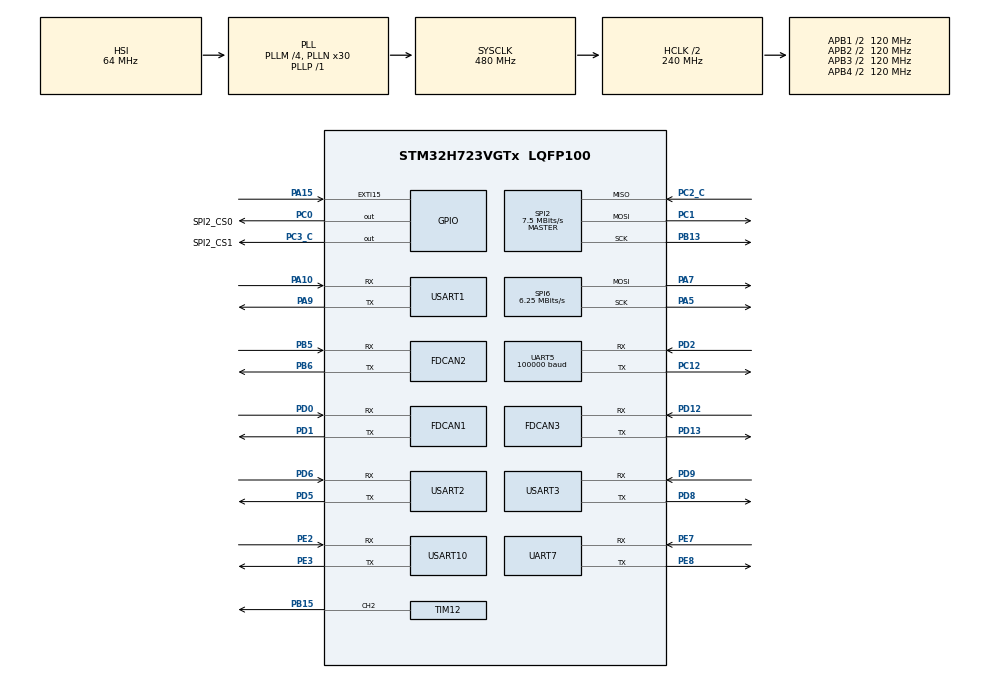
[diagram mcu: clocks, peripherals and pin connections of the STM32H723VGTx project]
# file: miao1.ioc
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Bdma.Request0=SPI6_TX
Bdma.RequestsNb=1
Bdma.SPI6_TX.0.Direction=DMA_MEMORY_TO_PERIPH
Bdma.SPI6_TX.0.EventEnable=DISABLE
Bdma.SPI6_TX.0.Instance=BDMA_Channel2
Bdma.SPI6_TX.0.MemDataAlignment=DMA_MDATAALIGN_BYTE
Bdma.SPI6_TX.0.MemInc=DMA_MINC_ENABLE
Bdma.SPI6_TX.0.Mode=DMA_NORMAL
Bdma.SPI6_TX.0.PeriphDataAlignment=DMA_PDATAALIGN_BYTE
Bdma.SPI6_TX.0.PeriphInc=DMA_PINC_DISABLE
Bdma.SPI6_TX.0.Polarity=HAL_DMAMUX_REQ_GEN_RISING
Bdma.SPI6_TX.0.Priority=DMA_PRIORITY_LOW
Bdma.SPI6_TX.0.RequestNumber=1
Bdma.SPI6_TX.0.SignalID=NONE
Bdma.SPI6_TX.0.SyncEnable=DISABLE
Bdma.SPI6_TX.0.SyncPolarity=HAL_DMAMUX_SYNC_NO_EVENT
Bdma.SPI6_TX.0.SyncRequestNumber=1
Bdma.SPI6_TX.0.SyncSignalID=NONE
Dma.Request0=USART1_RX
Dma.Request1=USART1_TX
Dma.Request10=USART10_RX
Dma.Request11=USART10_TX
Dma.Request12=SPI2_RX
Dma.Request13=SPI2_TX
Dma.Request2=USART2_RX
Dma.Request3=USART2_TX
Dma.Request4=USART3_RX
Dma.Request5=USART3_TX
Dma.Request6=UART5_RX
Dma.Request7=UART5_TX
Dma.Request8=UART7_RX
Dma.Request9=UART7_TX
Dma.SPI2_RX.12.Direction=DMA_PERIPH_TO_MEMORY
Dma.SPI2_RX.12.EventEnable=DISABLE
Dma.SPI2_RX.12.FIFOMode=DMA_FIFOMODE_DISABLE
Dma.SPI2_RX.12.Instance=DMA1_Stream3
Dma.SPI2_RX.12.MemDataAlignment=DMA_MDATAALIGN_BYTE
Dma.SPI2_RX.12.MemInc=DMA_MINC_ENABLE
Dma.SPI2_RX.12.Mode=DMA_NORMAL
Dma.SPI2_RX.12.PeriphDataAlignment=DMA_PDATAALIGN_BYTE
Dma.SPI2_RX.12.PeriphInc=DMA_PINC_DISABLE
Dma.SPI2_RX.12.Polarity=HAL_DMAMUX_REQ_GEN_RISING
Dma.SPI2_RX.12.Priority=DMA_PRIORITY_LOW
Dma.SPI2_RX.12.RequestNumber=1
Dma.SPI2_RX.12.SignalID=NONE
Dma.SPI2_RX.12.SyncEnable=DISABLE
Dma.SPI2_RX.12.SyncPolarity=HAL_DMAMUX_SYNC_NO_EVENT
Dma.SPI2_RX.12.SyncRequestNumber=1
Dma.SPI2_RX.12.SyncSignalID=NONE
Dma.SPI2_TX.13.Direction=DMA_MEMORY_TO_PERIPH
Dma.SPI2_TX.13.EventEnable=DISABLE
Dma.SPI2_TX.13.FIFOMode=DMA_FIFOMODE_DISABLE
Dma.SPI2_TX.13.Instance=DMA1_Stream4
Dma.SPI2_TX.13.MemDataAlignment=DMA_MDATAALIGN_BYTE
Dma.SPI2_TX.13.MemInc=DMA_MINC_ENABLE
Dma.SPI2_TX.13.Mode=DMA_NORMAL
Dma.SPI2_TX.13.PeriphDataAlignment=DMA_PDATAALIGN_BYTE
Dma.SPI2_TX.13.PeriphInc=DMA_PINC_DISABLE
Dma.SPI2_TX.13.Polarity=HAL_DMAMUX_REQ_GEN_RISING
Dma.SPI2_TX.13.Priority=DMA_PRIORITY_LOW
Dma.SPI2_TX.13.RequestNumber=1
Dma.SPI2_TX.13.SignalID=NONE
Dma.SPI2_TX.13.SyncEnable=DISABLE
Dma.SPI2_TX.13.SyncPolarity=HAL_DMAMUX_SYNC_NO_EVENT
Dma.SPI2_TX.13.SyncRequestNumber=1
Dma.SPI2_TX.13.SyncSignalID=NONE
Dma.UART5_RX.6.Direction=DMA_PERIPH_TO_MEMORY
Dma.UART5_RX.6.EventEnable=DISABLE
Dma.UART5_RX.6.FIFOMode=DMA_FIFOMODE_DISABLE
Dma.UART5_RX.6.Instance=DMA1_Stream6
Dma.UART5_RX.6.MemDataAlignment=DMA_MDATAALIGN_BYTE
Dma.UART5_RX.6.MemInc=DMA_MINC_ENABLE
Dma.UART5_RX.6.Mode=DMA_CIRCULAR
Dma.UART5_RX.6.PeriphDataAlignment=DMA_PDATAALIGN_BYTE
Dma.UART5_RX.6.PeriphInc=DMA_PINC_DISABLE
Dma.UART5_RX.6.Polarity=HAL_DMAMUX_REQ_GEN_RISING
Dma.UART5_RX.6.Priority=DMA_PRIORITY_LOW
Dma.UART5_RX.6.RequestNumber=1
Dma.UART5_RX.6.SignalID=NONE
Dma.UART5_RX.6.SyncEnable=DISABLE
Dma.UART5_RX.6.SyncPolarity=HAL_DMAMUX_SYNC_NO_EVENT
Dma.UART5_RX.6.SyncRequestNumber=1
Dma.UART5_RX.6.SyncSignalID=NONE
Dma.UART5_TX.7.Direction=DMA_MEMORY_TO_PERIPH
Dma.UART5_TX.7.EventEnable=DISABLE
Dma.UART5_TX.7.FIFOMode=DMA_FIFOMODE_DISABLE
Dma.UART5_TX.7.Instance=DMA1_Stream7
Dma.UART5_TX.7.MemDataAlignment=DMA_MDATAALIGN_BYTE
Dma.UART5_TX.7.MemInc=DMA_MINC_ENABLE
Dma.UART5_TX.7.Mode=DMA_NORMAL
Dma.UART5_TX.7.PeriphDataAlignment=DMA_PDATAALIGN_BYTE
Dma.UART5_TX.7.PeriphInc=DMA_PINC_DISABLE
Dma.UART5_TX.7.Polarity=HAL_DMAMUX_REQ_GEN_RISING
Dma.UART5_TX.7.Priority=DMA_PRIORITY_LOW
Dma.UART5_TX.7.RequestNumber=1
Dma.UART5_TX.7.SignalID=NONE
Dma.UART5_TX.7.SyncEnable=DISABLE
Dma.UART5_TX.7.SyncPolarity=HAL_DMAMUX_SYNC_NO_EVENT
Dma.UART5_TX.7.SyncRequestNumber=1
Dma.UART5_TX.7.SyncSignalID=NONE
Dma.UART7_RX.8.Direction=DMA_PERIPH_TO_MEMORY
Dma.UART7_RX.8.EventEnable=DISABLE
Dma.UART7_RX.8.FIFOMode=DMA_FIFOMODE_DISABLE
Dma.UART7_RX.8.Instance=DMA2_Stream0
Dma.UART7_RX.8.MemDataAlignment=DMA_MDATAALIGN_BYTE
Dma.UART7_RX.8.MemInc=DMA_MINC_ENABLE
Dma.UART7_RX.8.Mode=DMA_CIRCULAR
Dma.UART7_RX.8.PeriphDataAlignment=DMA_PDATAALIGN_BYTE
Dma.UART7_RX.8.PeriphInc=DMA_PINC_DISABLE
Dma.UART7_RX.8.Polarity=HAL_DMAMUX_REQ_GEN_RISING
Dma.UART7_RX.8.Priority=DMA_PRIORITY_LOW
Dma.UART7_RX.8.RequestNumber=1
Dma.UART7_RX.8.SignalID=NONE
Dma.UART7_RX.8.SyncEnable=DISABLE
Dma.UART7_RX.8.SyncPolarity=HAL_DMAMUX_SYNC_NO_EVENT
Dma.UART7_RX.8.SyncRequestNumber=1
Dma.UART7_RX.8.SyncSignalID=NONE
Dma.UART7_TX.9.Direction=DMA_MEMORY_TO_PERIPH
Dma.UART7_TX.9.EventEnable=DISABLE
Dma.UART7_TX.9.FIFOMode=DMA_FIFOMODE_DISABLE
Dma.UART7_TX.9.Instance=DMA2_Stream1
Dma.UART7_TX.9.MemDataAlignment=DMA_MDATAALIGN_BYTE
Dma.UART7_TX.9.MemInc=DMA_MINC_ENABLE
Dma.UART7_TX.9.Mode=DMA_NORMAL
Dma.UART7_TX.9.PeriphDataAlignment=DMA_PDATAALIGN_BYTE
Dma.UART7_TX.9.PeriphInc=DMA_PINC_DISABLE
Dma.UART7_TX.9.Polarity=HAL_DMAMUX_REQ_GEN_RISING
Dma.UART7_TX.9.Priority=DMA_PRIORITY_LOW
Dma.UART7_TX.9.RequestNumber=1
Dma.UART7_TX.9.SignalID=NONE
Dma.UART7_TX.9.SyncEnable=DISABLE
Dma.UART7_TX.9.SyncPolarity=HAL_DMAMUX_SYNC_NO_EVENT
Dma.UART7_TX.9.SyncRequestNumber=1
Dma.UART7_TX.9.SyncSignalID=NONE
Dma.USART10_RX.10.Direction=DMA_PERIPH_TO_MEMORY
Dma.USART10_RX.10.EventEnable=DISABLE
Dma.USART10_RX.10.FIFOMode=DMA_FIFOMODE_DISABLE
Dma.USART10_RX.10.Instance=DMA2_Stream2
Dma.USART10_RX.10.MemDataAlignment=DMA_MDATAALIGN_BYTE
Dma.USART10_RX.10.MemInc=DMA_MINC_ENABLE
Dma.USART10_RX.10.Mode=DMA_CIRCULAR
Dma.USART10_RX.10.PeriphDataAlignment=DMA_PDATAALIGN_BYTE
Dma.USART10_RX.10.PeriphInc=DMA_PINC_DISABLE
Dma.USART10_RX.10.Polarity=HAL_DMAMUX_REQ_GEN_RISING
Dma.USART10_RX.10.Priority=DMA_PRIORITY_LOW
Dma.USART10_RX.10.RequestNumber=1
Dma.USART10_RX.10.SignalID=NONE
Dma.USART10_RX.10.SyncEnable=DISABLE
Dma.USART10_RX.10.SyncPolarity=HAL_DMAMUX_SYNC_NO_EVENT
Dma.USART10_RX.10.SyncRequestNumber=1
Dma.USART10_RX.10.SyncSignalID=NONE
Dma.USART10_TX.11.Direction=DMA_MEMORY_TO_PERIPH
Dma.USART10_TX.11.EventEnable=DISABLE
Dma.USART10_TX.11.FIFOMode=DMA_FIFOMODE_DISABLE
Dma.USART10_TX.11.Instance=DMA2_Stream3
Dma.USART10_TX.11.MemDataAlignment=DMA_MDATAALIGN_BYTE
Dma.USART10_TX.11.MemInc=DMA_MINC_ENABLE
Dma.USART10_TX.11.Mode=DMA_NORMAL
Dma.USART10_TX.11.PeriphDataAlignment=DMA_PDATAALIGN_BYTE
Dma.USART10_TX.11.PeriphInc=DMA_PINC_DISABLE
Dma.USART10_TX.11.Polarity=HAL_DMAMUX_REQ_GEN_RISING
Dma.USART10_TX.11.Priority=DMA_PRIORITY_LOW
Dma.USART10_TX.11.RequestNumber=1
Dma.USART10_TX.11.SignalID=NONE
Dma.USART10_TX.11.SyncEnable=DISABLE
Dma.USART10_TX.11.SyncPolarity=HAL_DMAMUX_SYNC_NO_EVENT
Dma.USART10_TX.11.SyncRequestNumber=1
Dma.USART10_TX.11.SyncSignalID=NONE
Dma.USART1_RX.0.Direction=DMA_PERIPH_TO_MEMORY
Dma.USART1_RX.0.EventEnable=DISABLE
Dma.USART1_RX.0.FIFOMode=DMA_FIFOMODE_DISABLE
Dma.USART1_RX.0.Instance=DMA1_Stream0
Dma.USART1_RX.0.MemDataAlignment=DMA_MDATAALIGN_BYTE
Dma.USART1_RX.0.MemInc=DMA_MINC_ENABLE
Dma.USART1_RX.0.Mode=DMA_CIRCULAR
Dma.USART1_RX.0.PeriphDataAlignment=DMA_PDATAALIGN_BYTE
Dma.USART1_RX.0.PeriphInc=DMA_PINC_DISABLE
Dma.USART1_RX.0.Polarity=HAL_DMAMUX_REQ_GEN_RISING
Dma.USART1_RX.0.Priority=DMA_PRIORITY_LOW
Dma.USART1_RX.0.RequestNumber=1
Dma.USART1_RX.0.SignalID=NONE
Dma.USART1_RX.0.SyncEnable=DISABLE
Dma.USART1_RX.0.SyncPolarity=HAL_DMAMUX_SYNC_NO_EVENT
Dma.USART1_RX.0.SyncRequestNumber=1
Dma.USART1_RX.0.SyncSignalID=NONE
Dma.USART1_TX.1.Direction=DMA_MEMORY_TO_PERIPH
Dma.USART1_TX.1.EventEnable=DISABLE
Dma.USART1_TX.1.FIFOMode=DMA_FIFOMODE_DISABLE
Dma.USART1_TX.1.Instance=DMA1_Stream1
Dma.USART1_TX.1.MemDataAlignment=DMA_MDATAALIGN_BYTE
Dma.USART1_TX.1.MemInc=DMA_MINC_ENABLE
Dma.USART1_TX.1.Mode=DMA_NORMAL
Dma.USART1_TX.1.PeriphDataAlignment=DMA_PDATAALIGN_BYTE
Dma.USART1_TX.1.PeriphInc=DMA_PINC_DISABLE
Dma.USART1_TX.1.Polarity=HAL_DMAMUX_REQ_GEN_RISING
Dma.USART1_TX.1.Priority=DMA_PRIORITY_LOW
Dma.USART1_TX.1.RequestNumber=1
Dma.USART1_TX.1.SignalID=NONE
Dma.USART1_TX.1.SyncEnable=DISABLE
Dma.USART1_TX.1.SyncPolarity=HAL_DMAMUX_SYNC_NO_EVENT
Dma.USART1_TX.1.SyncRequestNumber=1
Dma.USART1_TX.1.SyncSignalID=NONE
Dma.USART2_RX.2.Direction=DMA_PERIPH_TO_MEMORY
Dma.USART2_RX.2.EventEnable=DISABLE
Dma.USART2_RX.2.FIFOMode=DMA_FIFOMODE_DISABLE
Dma.USART2_RX.2.Instance=DMA1_Stream2
Dma.USART2_RX.2.MemDataAlignment=DMA_MDATAALIGN_BYTE
Dma.USART2_RX.2.MemInc=DMA_MINC_ENABLE
Dma.USART2_RX.2.Mode=DMA_CIRCULAR
Dma.USART2_RX.2.PeriphDataAlignment=DMA_PDATAALIGN_BYTE
Dma.USART2_RX.2.PeriphInc=DMA_PINC_DISABLE
Dma.USART2_RX.2.Polarity=HAL_DMAMUX_REQ_GEN_RISING
Dma.USART2_RX.2.Priority=DMA_PRIORITY_LOW
Dma.USART2_RX.2.RequestNumber=1
Dma.USART2_RX.2.SignalID=NONE
Dma.USART2_RX.2.SyncEnable=DISABLE
Dma.USART2_RX.2.SyncPolarity=HAL_DMAMUX_SYNC_NO_EVENT
Dma.USART2_RX.2.SyncRequestNumber=1
Dma.USART2_RX.2.SyncSignalID=NONE
Dma.USART2_TX.3.Direction=DMA_MEMORY_TO_PERIPH
Dma.USART2_TX.3.EventEnable=DISABLE
Dma.USART2_TX.3.FIFOMode=DMA_FIFOMODE_DISABLE
Dma.USART2_TX.3.Instance=DMA2_Stream4
Dma.USART2_TX.3.MemDataAlignment=DMA_MDATAALIGN_BYTE
Dma.USART2_TX.3.MemInc=DMA_MINC_ENABLE
Dma.USART2_TX.3.Mode=DMA_NORMAL
Dma.USART2_TX.3.PeriphDataAlignment=DMA_PDATAALIGN_BYTE
Dma.USART2_TX.3.PeriphInc=DMA_PINC_DISABLE
Dma.USART2_TX.3.Polarity=HAL_DMAMUX_REQ_GEN_RISING
Dma.USART2_TX.3.Priority=DMA_PRIORITY_LOW
Dma.USART2_TX.3.RequestNumber=1
Dma.USART2_TX.3.SignalID=NONE
Dma.USART2_TX.3.SyncEnable=DISABLE
Dma.USART2_TX.3.SyncPolarity=HAL_DMAMUX_SYNC_NO_EVENT
Dma.USART2_TX.3.SyncRequestNumber=1
Dma.USART2_TX.3.SyncSignalID=NONE
Dma.USART3_RX.4.Direction=DMA_PERIPH_TO_MEMORY
Dma.USART3_RX.4.EventEnable=DISABLE
Dma.USART3_RX.4.FIFOMode=DMA_FIFOMODE_DISABLE
Dma.USART3_RX.4.Instance=DMA2_Stream5
Dma.USART3_RX.4.MemDataAlignment=DMA_MDATAALIGN_BYTE
Dma.USART3_RX.4.MemInc=DMA_MINC_ENABLE
Dma.USART3_RX.4.Mode=DMA_CIRCULAR
Dma.USART3_RX.4.PeriphDataAlignment=DMA_PDATAALIGN_BYTE
Dma.USART3_RX.4.PeriphInc=DMA_PINC_DISABLE
Dma.USART3_RX.4.Polarity=HAL_DMAMUX_REQ_GEN_RISING
Dma.USART3_RX.4.Priority=DMA_PRIORITY_LOW
Dma.USART3_RX.4.RequestNumber=1
Dma.USART3_RX.4.SignalID=NONE
Dma.USART3_RX.4.SyncEnable=DISABLE
Dma.USART3_RX.4.SyncPolarity=HAL_DMAMUX_SYNC_NO_EVENT
Dma.USART3_RX.4.SyncRequestNumber=1
Dma.USART3_RX.4.SyncSignalID=NONE
Dma.USART3_TX.5.Direction=DMA_MEMORY_TO_PERIPH
Dma.USART3_TX.5.EventEnable=DISABLE
Dma.USART3_TX.5.FIFOMode=DMA_FIFOMODE_DISABLE
Dma.USART3_TX.5.Instance=DMA1_Stream5
Dma.USART3_TX.5.MemDataAlignment=DMA_MDATAALIGN_BYTE
Dma.USART3_TX.5.MemInc=DMA_MINC_ENABLE
Dma.USART3_TX.5.Mode=DMA_NORMAL
Dma.USART3_TX.5.PeriphDataAlignment=DMA_PDATAALIGN_BYTE
Dma.USART3_TX.5.PeriphInc=DMA_PINC_DISABLE
Dma.USART3_TX.5.Polarity=HAL_DMAMUX_REQ_GEN_RISING
Dma.USART3_TX.5.Priority=DMA_PRIORITY_LOW
Dma.USART3_TX.5.RequestNumber=1
Dma.USART3_TX.5.SignalID=NONE
Dma.USART3_TX.5.SyncEnable=DISABLE
Dma.USART3_TX.5.SyncPolarity=HAL_DMAMUX_SYNC_NO_EVENT
Dma.USART3_TX.5.SyncRequestNumber=1
Dma.USART3_TX.5.SyncSignalID=NONE
FDCAN1.AutoRetransmission=DISABLE
FDCAN1.CalculateBaudRateNominal=1000000
FDCAN1.CalculateTimeBitNominal=1000
FDCAN1.CalculateTimeQuantumNominal=25.0
FDCAN1.DataPrescaler=3
FDCAN1.DataSyncJumpWidth=10
FDCAN1.DataTimeSeg1=29
FDCAN1.DataTimeSeg2=10
FDCAN1.FrameFormat=FDCAN_FRAME_FD_BRS
FDCAN1.NominalPrescaler=3
FDCAN1.NominalSyncJumpWidth=10
FDCAN1.NominalTimeSeg1=29
FDCAN1.NominalTimeSeg2=10
FDCAN1.RxBufferSize=FDCAN_DATA_BYTES_64
FDCAN1.RxFifo0ElmtSize=FDCAN_DATA_BYTES_64
FDCAN1.RxFifo0ElmtsNbr=12
FDCAN1.RxFifo1ElmtSize=FDCAN_DATA_BYTES_64
FDCAN1.StdFiltersNbr=24
FDCAN1.TxElmtSize=FDCAN_DATA_BYTES_64
FDCAN1.TxFifoQueueElmtsNbr=32
FDCAN2.CalculateBaudRateNominal=1000000
FDCAN2.CalculateTimeBitNominal=1000
FDCAN2.CalculateTimeQuantumNominal=25.0
FDCAN2.DataPrescaler=3
FDCAN2.DataSyncJumpWidth=10
FDCAN2.DataTimeSeg1=29
FDCAN2.DataTimeSeg2=10
FDCAN2.FrameFormat=FDCAN_FRAME_FD_BRS
FDCAN2.MessageRAMOffset=853
FDCAN2.NominalPrescaler=3
FDCAN2.NominalSyncJumpWidth=10
FDCAN2.NominalTimeSeg1=29
FDCAN2.NominalTimeSeg2=10
FDCAN2.RxBufferSize=FDCAN_DATA_BYTES_64
FDCAN2.RxFifo0ElmtSize=FDCAN_DATA_BYTES_64
FDCAN2.RxFifo0ElmtsNbr=12
FDCAN2.RxFifo1ElmtSize=FDCAN_DATA_BYTES_64
FDCAN2.StdFiltersNbr=24
FDCAN2.TxFifoQueueElmtsNbr=32
FDCAN3.CalculateBaudRateNominal=1000000
FDCAN3.CalculateTimeBitNominal=1000
FDCAN3.CalculateTimeQuantumNominal=25.0
FDCAN3.DataPrescaler=3
FDCAN3.DataSyncJumpWidth=10
FDCAN3.DataTimeSeg1=29
FDCAN3.DataTimeSeg2=10
FDCAN3.FrameFormat=FDCAN_FRAME_FD_BRS
FDCAN3.MessageRAMOffset=1076
FDCAN3.NominalPrescaler=3
FDCAN3.NominalSyncJumpWidth=10
FDCAN3.NominalTimeSeg1=29
FDCAN3.NominalTimeSeg2=10
FDCAN3.RxBufferSize=FDCAN_DATA_BYTES_64
FDCAN3.RxFifo0ElmtSize=FDCAN_DATA_BYTES_64
FDCAN3.RxFifo0ElmtsNbr=12
FDCAN3.RxFifo1ElmtSize=FDCAN_DATA_BYTES_64
FDCAN3.StdFiltersNbr=24
FDCAN3.TxElmtSize=FDCAN_DATA_BYTES_64
FDCAN3.TxFifoQueueElmtsNbr=32
FREERTOS.Tasks01=task_status,24,128,Starttask_status,Default,NULL,Dynamic,NULL,NULL;Communication,8,512,StartCommunication,Default,NULL,Dynamic,NULL,NULL;motor_ctrl,29,512,Startmotor_ctrl,Default,NULL,Dynamic,NULL,NULL;HT10A,24,128,StartHT10A,Default,NULL,Dynamic,NULL,NULL
Mcu.Family=STM32H7
Mcu.Name=STM32H723VGTx
Mcu.Package=LQFP100
NVIC.BDMA_Channel2_IRQn=true\:5\:0\:false\:false\:true\:true\:false\:true\:true
NVIC.DMA1_Stream0_IRQn=true\:5\:0\:false\:false\:true\:true\:false\:true\:true
NVIC.DMA1_Stream1_IRQn=true\:5\:0\:false\:false\:true\:true\:false\:true\:true
NVIC.DMA1_Stream2_IRQn=true\:5\:0\:false\:false\:true\:true\:false\:true\:true
NVIC.DMA1_Stream3_IRQn=true\:5\:0\:true\:false\:true\:true\:false\:true\:true
NVIC.DMA1_Stream4_IRQn=true\:5\:0\:true\:false\:true\:true\:false\:true\:true
NVIC.DMA1_Stream5_IRQn=true\:5\:0\:false\:false\:true\:true\:false\:true\:true
NVIC.DMA1_Stream6_IRQn=true\:5\:0\:false\:false\:true\:true\:false\:true\:true
NVIC.DMA1_Stream7_IRQn=true\:5\:0\:false\:false\:true\:true\:false\:true\:true
NVIC.DMA2_Stream0_IRQn=true\:5\:0\:false\:false\:true\:true\:false\:true\:true
NVIC.DMA2_Stream1_IRQn=true\:5\:0\:false\:false\:true\:true\:false\:true\:true
NVIC.DMA2_Stream2_IRQn=true\:5\:0\:false\:false\:true\:true\:false\:true\:true
NVIC.DMA2_Stream3_IRQn=true\:5\:0\:false\:false\:true\:true\:false\:true\:true
NVIC.DMA2_Stream4_IRQn=true\:5\:0\:false\:false\:true\:true\:false\:true\:true
NVIC.DMA2_Stream5_IRQn=true\:5\:0\:false\:false\:true\:true\:false\:true\:true
NVIC.EXTI15_10_IRQn=true\:15\:0\:true\:false\:true\:true\:true\:true\:true
NVIC.FDCAN1_IT0_IRQn=true\:5\:0\:true\:false\:true\:true\:true\:true\:true
NVIC.FDCAN1_IT1_IRQn=true\:5\:0\:true\:false\:true\:true\:true\:true\:true
NVIC.FDCAN2_IT0_IRQn=true\:5\:0\:true\:false\:true\:true\:true\:true\:true
NVIC.FDCAN2_IT1_IRQn=true\:5\:0\:true\:false\:true\:true\:true\:true\:true
NVIC.FDCAN3_IT0_IRQn=true\:5\:0\:true\:false\:true\:true\:true\:true\:true
NVIC.FDCAN3_IT1_IRQn=true\:5\:0\:true\:false\:true\:true\:true\:true\:true
NVIC.FDCAN_CAL_IRQn=true\:5\:0\:true\:false\:true\:true\:true\:true\:true
NVIC.PriorityGroup=NVIC_PRIORITYGROUP_4
NVIC.SPI2_IRQn=true\:5\:0\:true\:false\:true\:true\:true\:true\:true
NVIC.SPI6_IRQn=true\:5\:0\:false\:false\:true\:true\:false\:true\:true
NVIC.TIM1_UP_IRQn=true\:15\:0\:true\:false\:true\:false\:false\:true\:true
NVIC.TimeBase=TIM1_UP_IRQn
NVIC.TimeBaseIP=TIM1
NVIC.UART5_IRQn=true\:5\:0\:false\:false\:true\:true\:true\:true\:true
NVIC.UART7_IRQn=true\:5\:0\:false\:false\:true\:true\:true\:true\:true
NVIC.USART10_IRQn=true\:5\:0\:false\:false\:true\:true\:true\:true\:true
NVIC.USART1_IRQn=true\:5\:0\:false\:false\:true\:true\:true\:true\:true
NVIC.USART2_IRQn=true\:5\:0\:false\:false\:true\:true\:true\:true\:true
NVIC.USART3_IRQn=true\:5\:0\:false\:false\:true\:true\:true\:true\:true
PA10.Mode=Asynchronous
PA10.Signal=USART1_RX
PA13(JTMS/SWDIO).Mode=Serial_Wire
PA13(JTMS/SWDIO).Signal=DEBUG_JTMS-SWDIO
PA14(JTCK/SWCLK).Mode=Serial_Wire
PA14(JTCK/SWCLK).Signal=DEBUG_JTCK-SWCLK
PA15(JTDI).GPIO_ModeDefaultEXTI=GPIO_MODE_IT_FALLING
PA15(JTDI).GPIO_PuPd=GPIO_PULLUP
PA15(JTDI).Signal=GPXTI15
PA5.Mode=TX_Only_Simplex_Unidirect_Master
PA5.Signal=SPI6_SCK
PA7.Mode=TX_Only_Simplex_Unidirect_Master
PA7.Signal=SPI6_MOSI
PA9.Mode=Asynchronous
PA9.Signal=USART1_TX
PB13.Mode=Full_Duplex_Master
PB13.Signal=SPI2_SCK
PB15.Signal=S_TIM12_CH2
PB5.Mode=FDCAN_Activate
PB5.Signal=FDCAN2_RX
PB6.Mode=FDCAN_Activate
PB6.Signal=FDCAN2_TX
PC0.GPIO_Label=SPI2_CS0
PC0.Signal=GPIO_Output
PC1.Mode=Full_Duplex_Master
PC1.Signal=SPI2_MOSI
PC12.Mode=Asynchronous
PC12.Signal=UART5_TX
PC2_C.Mode=Full_Duplex_Master
PC2_C.Signal=SPI2_MISO
PC3_C.GPIO_Label=SPI2_CS1
PC3_C.Signal=GPIO_Output
PD0.Mode=FDCAN_Activate
PD0.Signal=FDCAN1_RX
PD1.Mode=FDCAN_Activate
PD1.Signal=FDCAN1_TX
PD12.Mode=FDCAN_Activate
PD12.Signal=FDCAN3_RX
PD13.Mode=FDCAN_Activate
PD13.Signal=FDCAN3_TX
PD2.Mode=Asynchronous
PD2.Signal=UART5_RX
PD5.Mode=Asynchronous
PD5.Signal=USART2_TX
PD6.Mode=Asynchronous
PD6.Signal=USART2_RX
PD8.Mode=Asynchronous
PD8.Signal=USART3_TX
PD9.Mode=Asynchronous
PD9.Signal=USART3_RX
PE2.Mode=Asynchronous
PE2.Signal=USART10_RX
PE3.Mode=Asynchronous
PE3.Signal=USART10_TX
PE7.Mode=Asynchronous
PE7.Signal=UART7_RX
PE8.Mode=Asynchronous
PE8.Signal=UART7_TX
PH0-OSC_IN.Mode=HSE-External-Oscillator
PH0-OSC_IN.Signal=RCC_OSC_IN
PH1-OSC_OUT.Mode=HSE-External-Oscillator
PH1-OSC_OUT.Signal=RCC_OSC_OUT
ProjectManager.HeapSize=0x200
ProjectManager.StackSize=0x400
ProjectManager.TargetToolchain=CMake
RCC.ADCFreq_Value=96000000
RCC.APB1Freq_Value=120000000
RCC.APB2Freq_Value=120000000
RCC.APB3Freq_Value=120000000
RCC.APB4Freq_Value=120000000
RCC.CortexFreq_Value=480000000
RCC.D1PPRE=RCC_APB3_DIV2
RCC.D2PPRE1=RCC_APB1_DIV2
RCC.D2PPRE2=RCC_APB2_DIV2
RCC.D3PPRE=RCC_APB4_DIV2
RCC.DIVM1=4
RCC.DIVM2=4
RCC.DIVN1=30
RCC.DIVN2=12
RCC.DIVP1=1
RCC.DIVQ1=4
RCC.HCLKFreq_Value=240000000
RCC.HPRE=RCC_HCLK_DIV2
RCC.PLL2FRACN=0
RCC.PLL3FRACN=0
RCC.PLLFRACN=0
RCC.SPI6CLockSelection=RCC_SPI6CLKSOURCE_HSE
RCC.SYSCLKFreq_VALUE=480000000
RCC.SYSCLKSource=RCC_SYSCLKSOURCE_PLLCLK
RCC.USBFreq_Value=120000000
SH.S_TIM12_CH2.0=TIM12_CH2,PWM Generation2 CH2
SPI2.BaudRatePrescaler=SPI_BAUDRATEPRESCALER_16
SPI2.CLKPhase=SPI_PHASE_2EDGE
SPI2.CLKPolarity=SPI_POLARITY_HIGH
SPI2.CalculateBaudRate=7.5 MBits/s
SPI2.DataSize=SPI_DATASIZE_8BIT
SPI2.Direction=SPI_DIRECTION_2LINES
SPI2.Mode=SPI_MODE_MASTER
SPI2.VirtualType=VM_MASTER
SPI6.BaudRatePrescaler=SPI_BAUDRATEPRESCALER_4
SPI6.CLKPhase=SPI_PHASE_2EDGE
SPI6.CalculateBaudRate=6.25 MBits/s
SPI6.DataSize=SPI_DATASIZE_8BIT
SPI6.Direction=SPI_DIRECTION_2LINES_TXONLY
SPI6.Mode=SPI_MODE_MASTER
SPI6.VirtualType=VM_MASTER
TIM12.AutoReloadPreload=TIM_AUTORELOAD_PRELOAD_ENABLE
TIM12.Channel-PWM\ Generation2\ CH2=TIM_CHANNEL_2
TIM12.Period=250-1
TIM12.Prescaler=550-1
UART5.BaudRate=100000
UART5.Parity=PARITY_NONE
UART5.StopBits=UART_STOPBITS_2
UART5.WordLength=WORDLENGTH_9B
USART1.VirtualMode-Asynchronous=VM_ASYNC
USART10.VirtualMode=VM_ASYNC
USART2.VirtualMode-Asynchronous=VM_ASYNC
USART3.VirtualMode-Asynchronous=VM_ASYNC
VP_FREERTOS_VS_CMSIS_V2.Mode=CMSIS_V2
VP_MEMORYMAP_VS_MEMORYMAP.Mode=CurAppReg
VP_SYS_VS_tim1.Mode=TIM1
board=custom

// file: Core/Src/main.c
/* USER CODE BEGIN Header */
/**
  ******************************************************************************
  * @file           : main.c
  * @brief          : Main program body
  ******************************************************************************
  * @attention
  *
  * Copyright (c) 2026 STMicroelectronics.
  * All rights reserved.
  *
  * This software is licensed under terms that can be found in the LICENSE file
  * in the root directory of this software component.
  * If no LICENSE file comes with this software, it is provided AS-IS.
  *
  ******************************************************************************
  */
/* USER CODE END Header */
#include "main.h"
#include "FreeRTOS.h"
#include "cmsis_os2.h"
#include "bdma.h"
#include "dma.h"
#include "fdcan.h"
#include "spi.h"
#include "tim.h"
#include "usart.h"
#include "gpio.h"

/* USER CODE BEGIN Includes */

#include <stdio.h>

#include "string.h"
#include "../../user_config/bsp/ws2812/ws2812.h"
#include "bsp/buzzer/buzzer.h"
#include "bsp/can/user_can.h"
#include "bsp/usart/uart.h"
#include "freeRTOS/task_status/task_status.h"
#include "app/ins/ins.h"

/* USER CODE END Includes */

void SystemClock_Config(void);
void MX_FREERTOS_Init(void);

int main(void)
{

  /* MCU Configuration--------------------------------------------------------*/

  /* Reset of all peripherals, Initializes the Flash interface and the Systick. */
  HAL_Init();

  /* Configure the system clock */
  SystemClock_Config();

  /* Initialize all configured peripherals */
  MX_GPIO_Init();
  MX_BDMA_Init();
  MX_DMA_Init();
  MX_SPI6_Init();
  MX_USART1_UART_Init();
  MX_TIM12_Init();
  MX_USART2_UART_Init();
  MX_USART3_UART_Init();
  MX_UART5_Init();
  MX_UART7_Init();
  MX_USART10_UART_Init();
  MX_FDCAN1_Init();
  MX_FDCAN2_Init();
  MX_FDCAN3_Init();
  MX_SPI2_Init();
  /* USER CODE BEGIN 2 */
  HAL_TIM_PWM_Start(&htim12, TIM_CHANNEL_2);

  led_control(green , 100);
  buzzer_alarm(30,100);
  HAL_Delay(200);
  buzzer_alarm(0,100);

  uart_init();
  ins_init();
  can_init(can1);

  /* USER CODE END 2 */

  /* Init scheduler */
  osKernelInitialize();  /* Call init function for freertos objects (in cmsis_os2.c) */
  MX_FREERTOS_Init();

  /* Start scheduler */
  osKernelStart();

  /* We should never get here as control is now taken by the scheduler */

  /* Infinite loop */
  while (1)
  {

  }
}

void SystemClock_Config(void)
{
  RCC_OscInitTypeDef RCC_OscInitStruct = {0};
  RCC_ClkInitTypeDef RCC_ClkInitStruct = {0};

  /** Supply configuration update enable
  */
  HAL_PWREx_ConfigSupply(PWR_LDO_SUPPLY);

  /** Configure the main internal regulator output voltage
  */
  __HAL_PWR_VOLTAGESCALING_CONFIG(PWR_REGULATOR_VOLTAGE_SCALE0);

  while(!__HAL_PWR_GET_FLAG(PWR_FLAG_VOSRDY)) {}

  /** Initializes the RCC Oscillators according to the specified parameters
  * in the RCC_OscInitTypeDef structure.
  */
  RCC_OscInitStruct.OscillatorType = RCC_OSCILLATORTYPE_HSI|RCC_OSCILLATORTYPE_HSE;
  RCC_OscInitStruct.HSEState = RCC_HSE_ON;
  RCC_OscInitStruct.HSIState = RCC_HSI_DIV1;
  RCC_OscInitStruct.HSICalibrationValue = 64;
  RCC_OscInitStruct.PLL.PLLState = RCC_PLL_ON;
  RCC_OscInitStruct.PLL.PLLSource = RCC_PLLSOURCE_HSI;
  RCC_OscInitStruct.PLL.PLLM = 4;
  RCC_OscInitStruct.PLL.PLLN = 30;
  RCC_OscInitStruct.PLL.PLLP = 1;
  RCC_OscInitStruct.PLL.PLLQ = 4;
  RCC_OscInitStruct.PLL.PLLR = 2;
  RCC_OscInitStruct.PLL.PLLRGE = RCC_PLL1VCIRANGE_3;
  RCC_OscInitStruct.PLL.PLLVCOSEL = RCC_PLL1VCOWIDE;
  RCC_OscInitStruct.PLL.PLLFRACN = 0;
  if (HAL_RCC_OscConfig(&RCC_OscInitStruct) != HAL_OK)
  {
    Error_Handler();
  }

  /** Initializes the CPU, AHB and APB buses clocks
  */
  RCC_ClkInitStruct.ClockType = RCC_CLOCKTYPE_HCLK|RCC_CLOCKTYPE_SYSCLK
                              |RCC_CLOCKTYPE_PCLK1|RCC_CLOCKTYPE_PCLK2
                              |RCC_CLOCKTYPE_D3PCLK1|RCC_CLOCKTYPE_D1PCLK1;
  RCC_ClkInitStruct.SYSCLKSource = RCC_SYSCLKSOURCE_PLLCLK;
  RCC_ClkInitStruct.SYSCLKDivider = RCC_SYSCLK_DIV1;
  RCC_ClkInitStruct.AHBCLKDivider = RCC_HCLK_DIV2;
  RCC_ClkInitStruct.APB3CLKDivider = RCC_APB3_DIV2;
  RCC_ClkInitStruct.APB1CLKDivider = RCC_APB1_DIV2;
  RCC_ClkInitStruct.APB2CLKDivider = RCC_APB2_DIV2;
  RCC_ClkInitStruct.APB4CLKDivider = RCC_APB4_DIV2;

  if (HAL_RCC_ClockConfig(&RCC_ClkInitStruct, FLASH_LATENCY_3) != HAL_OK)
  {
    Error_Handler();
  }
}

void HAL_TIM_PeriodElapsedCallback(TIM_HandleTypeDef *htim)
{
  if (htim->Instance == TIM1)
  {
    HAL_IncTick();
  }
}

void Error_Handler(void)
{
  __disable_irq();
  while (1)
  {
  }
}

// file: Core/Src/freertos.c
/* USER CODE BEGIN Header */
/**
  ******************************************************************************
  * File Name          : freertos.c
  * Description        : Code for freertos applications
  ******************************************************************************
  * @attention
  *
  * Copyright (c) 2026 STMicroelectronics.
  * All rights reserved.
  *
  * This software is licensed under terms that can be found in the LICENSE file
  * in the root directory of this software component.
  * If no LICENSE file comes with this software, it is provided AS-IS.
  *
  ******************************************************************************
  */
/* USER CODE END Header */

#include "FreeRTOS.h"
#include "task.h"
#include "main.h"
#include "FreeRTOS.h"
#include "cmsis_os2.h"

/* USER CODE BEGIN Includes */
#include "app/ins/ins.h"
/* USER CODE END Includes */

/* Definitions for task_status */
osThreadId_t task_statusHandle;
const osThreadAttr_t task_status_attributes = {
  .name = "task_status",
  .stack_size = 128 * 4,
  .priority = (osPriority_t) osPriorityNormal,
};
/* Definitions for Communication */
osThreadId_t CommunicationHandle;
const osThreadAttr_t Communication_attributes = {
  .name = "Communication",
  .stack_size = 512 * 4,
  .priority = (osPriority_t) osPriorityLow,
};
/* Definitions for motor_ctrl */
osThreadId_t motor_ctrlHandle;
const osThreadAttr_t motor_ctrl_attributes = {
  .name = "motor_ctrl",
  .stack_size = 512 * 4,
  .priority = (osPriority_t) osPriorityNormal5,
};
/* Definitions for HT10A */
osThreadId_t HT10AHandle;
const osThreadAttr_t HT10A_attributes = {
  .name = "HT10A",
  .stack_size = 128 * 4,
  .priority = (osPriority_t) osPriorityNormal,
};

void Starttask_status(void *argument);
void StartCommunication(void *argument);
void Startmotor_ctrl(void *argument);
void StartHT10A(void *argument);

void MX_FREERTOS_Init(void); /* (MISRA C 2004 rule 8.1) */

void MX_FREERTOS_Init(void) {

  /* Create the thread(s) */
  /* creation of task_status */
  task_statusHandle = osThreadNew(Starttask_status, NULL, &task_status_attributes);

  /* creation of Communication */
  CommunicationHandle = osThreadNew(StartCommunication, NULL, &Communication_attributes);

  /* creation of motor_ctrl */
  motor_ctrlHandle = osThreadNew(Startmotor_ctrl, NULL, &motor_ctrl_attributes);

  /* creation of HT10A */
  HT10AHandle = osThreadNew(StartHT10A, NULL, &HT10A_attributes);

  /* USER CODE BEGIN RTOS_THREADS */
  /* add threads, ... */
  ins_task_start();
  /* USER CODE END RTOS_THREADS */

}
